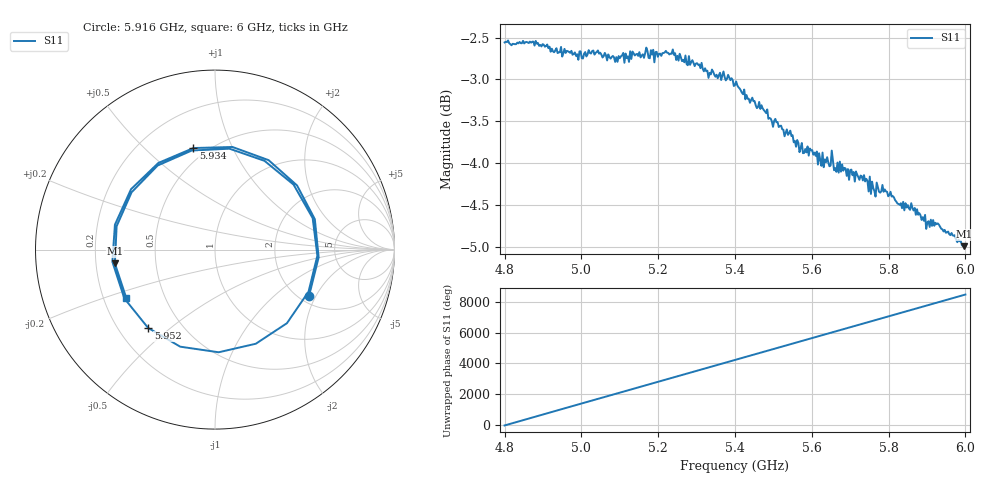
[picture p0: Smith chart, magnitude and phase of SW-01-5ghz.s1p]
! NanoVNA-App
! Date: 2026-05-22 18:55:26
! Start: 4.8GHz Stop: 6GHz Points: 401
! S-Parameter data: F S11
# Hz S RI R 50
!  Frequency  S11_Real  S11_Imag
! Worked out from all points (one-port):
!   401 points, 4.8 GHz to 6 GHz, reference 50 ohm
!   lowest |S11| = -5.0 dB at 5.997 GHz (marker M1), VSWR 3.58, Z = 14 - j3.18 ohm
!   |S11| at or under -10 dB: nowhere
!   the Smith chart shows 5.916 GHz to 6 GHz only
!   S11 on the Smith chart (normalised r, x): 5.916 GHz: 2.26, -1.76; 5.934 GHz: 0.42, +0.72; 5.952 GHz: 0.32, -0.42; 6 GHz: 0.30, -0.24
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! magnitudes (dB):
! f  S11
! 4.8 GHz  -2.6
! 4.869 GHz  -2.6
! 4.95 GHz  -2.7
! 5.1 GHz  -2.7
! 5.22 GHz  -2.7
! 5.25 GHz  -2.7
! 5.4 GHz  -3.1
! 5.433 GHz  -3.2
! 5.478 GHz  -3.4
! 5.493 GHz  -3.5
! 5.55 GHz  -3.7
! 5.574 GHz  -3.8
! 5.601 GHz  -3.8
! 5.628 GHz  -3.9
! 5.649 GHz  -4.0
! 5.664 GHz  -4.1
! 5.7 GHz  -4.1
! 5.736 GHz  -4.1
! 5.76 GHz  -4.3
! 5.79 GHz  -4.3
! 5.829 GHz  -4.5
! 5.85 GHz  -4.5
! 5.904 GHz  -4.7
! 5.916 GHz  -4.7
! 5.934 GHz  -4.8
! 5.952 GHz  -4.8
! 5.997 GHz  -5.0
! 6 GHz  -5.0
